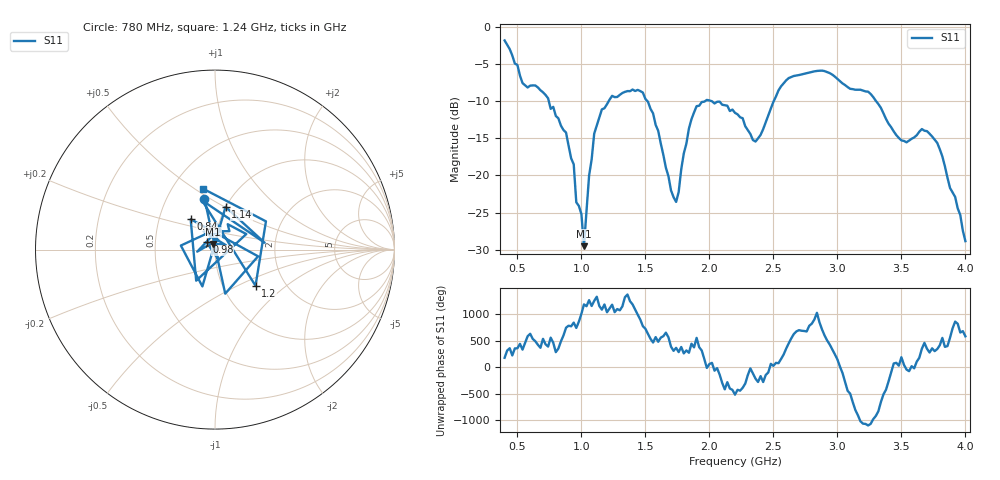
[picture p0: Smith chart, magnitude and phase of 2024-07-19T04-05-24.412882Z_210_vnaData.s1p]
!Created with skrf (http://scikit-rf.org).
# Hz S RI R 50.0
!freq ReS11 ImS11
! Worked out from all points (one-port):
!   181 points, 400 MHz to 4 GHz, reference 50 ohm
!   lowest |S11| = -29.5 dB at 1.02 GHz (marker M1), VSWR 1.07, Z = 48.9 + j3.13 ohm
!   |S11| at or under -10 dB: 745.7 MHz to 1.213 GHz (466.9 MHz wide, 47.7 % of centre); 2.021 GHz to 2.502 GHz (481.1 MHz wide, 21.3 % of centre); 3.303 GHz to end of sweep (the widest 3 of 4)
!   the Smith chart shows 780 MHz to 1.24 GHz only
!   S11 on the Smith chart (normalised r, x): 780 MHz: 0.76, +0.47; 840 MHz: 0.72, +0.26; 980 MHz: 0.91, +0.07; 1.14 GHz: 1.00, +0.51; 1.2 GHz: 1.42, -0.63; 1.24 GHz: 0.71, +0.54
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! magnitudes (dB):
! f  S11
! 400 MHz  -1.8
! 540 MHz  -7.5
! 780 MHz  -10.7
! 840 MHz  -13.3
! 860 MHz  -13.9
! 940 MHz  -18.5
! 960 MHz  -23.6
! 980 MHz  -24.1
! 1.02 GHz  -29.5
! 1.06 GHz  -20.0
! 1.1 GHz  -14.4
! 1.14 GHz  -12.2
! 1.2 GHz  -10.4
! 1.24 GHz  -9.3
! 1.3 GHz  -9.1
! 1.48 GHz  -8.8
! 1.6 GHz  -14.0
! 1.7 GHz  -22.0
! 1.76 GHz  -22.2
! 1.84 GHz  -13.7
! 1.9 GHz  -10.6
! 2.2 GHz  -11.6
! 2.36 GHz  -15.4
! 2.66 GHz  -6.6
! 3.1 GHz  -8.3
! 3.56 GHz  -15.3
! 3.78 GHz  -15.6
! 4 GHz  -28.9
